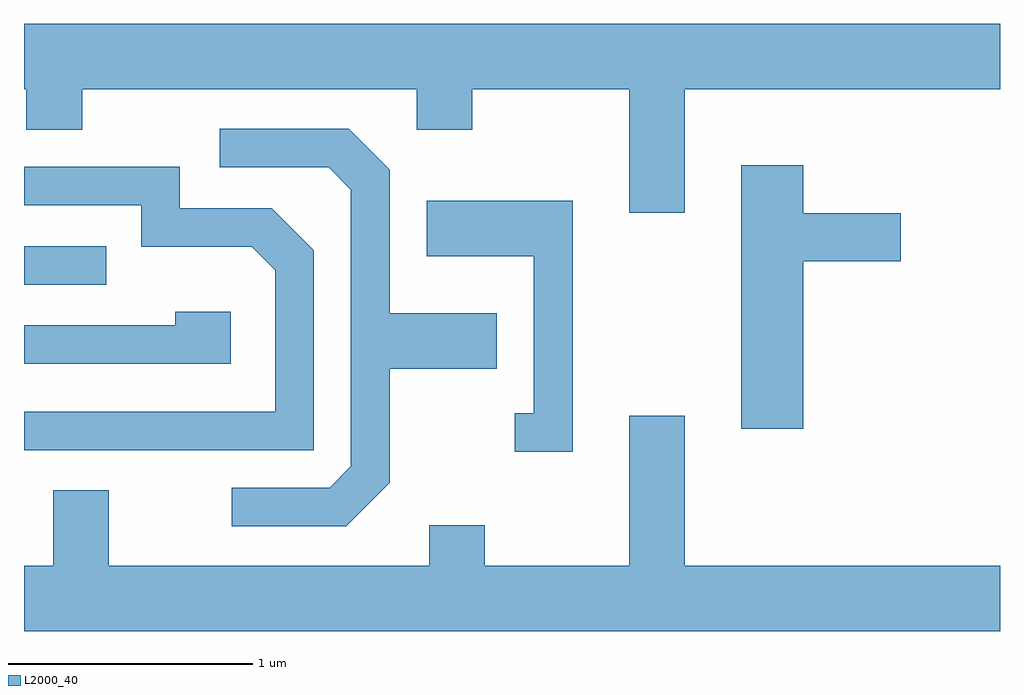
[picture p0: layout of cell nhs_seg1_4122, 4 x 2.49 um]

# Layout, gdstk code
import gdstk
lib = gdstk.Library(unit=1e-6, precision=1e-09)
def R(c, l, rs):  # rectangles x0, y0, x1, y1
    for r in rs: c.add(gdstk.rectangle(r[:2], r[2:], *l))
def P(c, l, *ps):  # polygons
    for p in ps: c.add(gdstk.Polygon(p, *l))
L2000_40 = (2000, 40)

nhs_seg1_4122 = lib.new_cell('nhs_seg1_4122')
R(nhs_seg1_4122, L2000_40, [(309.611,863.256,309.948,863.414)])
P(nhs_seg1_4122, L2000_40, [(312.319,864.056),(313.611,864.056),(313.611,864.324),(309.611,864.324),(309.611,864.056),(309.621,864.056),(309.621,863.891),(309.849,863.891),(309.849,864.056),(311.221,864.056),(311.221,863.891),(311.449,863.891),(311.449,864.056),(312.091,864.056),(312.091,863.551),(312.319,863.551)],
  [(311.109,862.444),(311.109,862.911),(311.549,862.911),(311.549,863.139),(311.109,863.139),(311.109,863.727),(310.942,863.894),(310.413,863.894),(310.413,863.736),(310.859,863.736),(310.951,863.644),(310.951,862.512),(310.864,862.424),(310.463,862.424),(310.463,862.266),(310.932,862.266)],
  [(312.804,863.351),(313.204,863.351),(313.204,863.549),(312.804,863.549),(312.804,863.744),(312.551,863.744),(312.551,862.666),(312.804,862.666)],
  [(310.799,863.397),(310.627,863.569),(310.249,863.569),(310.249,863.739),(309.611,863.739),(309.611,863.581),(310.091,863.581),(310.091,863.411),(310.544,863.411),(310.641,863.314),(310.641,862.734),(309.611,862.734),(309.611,862.576),(310.799,862.576)],
  [(311.859,863.599),(311.261,863.599),(311.261,863.371),(311.701,863.371),(311.701,862.729),(311.623,862.729),(311.623,862.571),(311.859,862.571)],
  [(310.459,863.144),(310.231,863.144),(310.231,863.089),(309.611,863.089),(309.611,862.931),(310.459,862.931)],
  [(313.611,862.104),(312.319,862.104),(312.319,862.719),(312.091,862.719),(312.091,862.104),(311.499,862.104),(311.499,862.269),(311.271,862.269),(311.271,862.104),(309.959,862.104),(309.959,862.414),(309.731,862.414),(309.731,862.104),(309.611,862.104),(309.611,861.836),(313.611,861.836)])

lib.write_gds('nhs_seg1_4122.gds')
